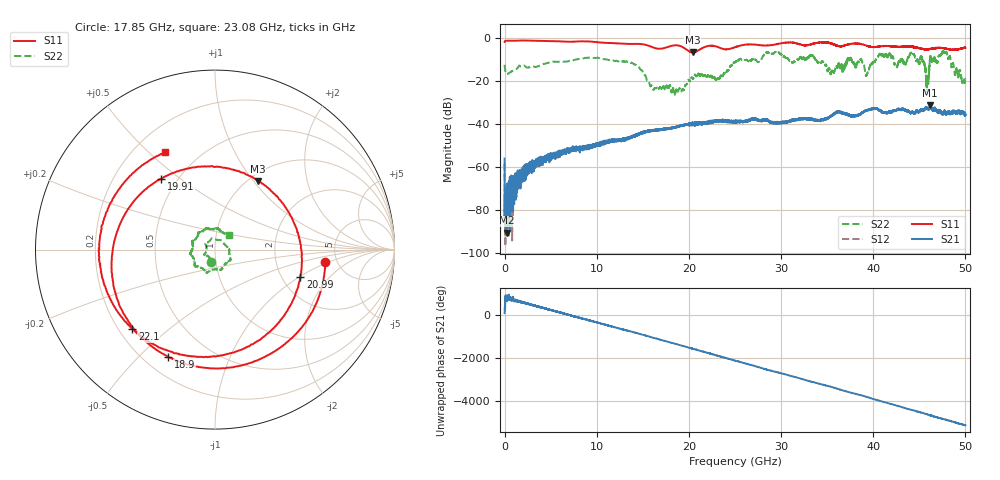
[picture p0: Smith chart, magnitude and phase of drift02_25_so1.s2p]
!Created with skrf (http://scikit-rf.org).
# Hz S RI R 50.0
!freq ReS11 ImS11 ReS21 ImS21 ReS12 ImS12 ReS22 ImS22
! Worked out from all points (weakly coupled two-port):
!   10001 points, 300 kHz to 50 GHz, reference 50 ohm
!   highest |S21| = -31.53 dB at 46.18 GHz (marker M1); lowest = -90.7 dB at 245.3 MHz (marker M2)
!   lowest |S11| = -6.9 dB at 20.41 GHz (marker M3), VSWR 2.64, Z = 54.8 + j52.6 ohm
!   |S11| at or under -10 dB: nowhere
!   |S22| runs from -26.6 to -6.3 dB; largest |S21 - S12| = 0.0038
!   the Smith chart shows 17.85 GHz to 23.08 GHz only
!   S11 on the Smith chart (normalised r, x): 17.85 GHz: 4.02, -0.90; 18.9 GHz: 0.30, -0.61; 19.91 GHz: 0.41, +0.43; 20.99 GHz: 2.51, -1.03; 22.1 GHz: 0.25, -0.38; 23.08 GHz: 0.33, +0.56
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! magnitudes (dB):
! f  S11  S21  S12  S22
! 300 kHz  -2.1  -56.3  -58.6  -12.7
! 245.3 MHz  -1.4  -90.7  -75.1  -17.0
! 2.88 GHz  -1.4  -59.1  -59.4  -13.6
! 8.335 GHz  -1.7  -51.4  -51.0  -9.7
! 13.71 GHz  -3.0  -46.5  -46.6  -11.7
! 16.67 GHz  -5.2  -42.9  -43.1  -23.6
! 17.85 GHz  -4.2  -42.3  -42.0  -23.0
! 18.9 GHz  -3.7  -41.5  -41.1  -24.2
! 19.91 GHz  -6.1  -40.3  -40.3  -19.8
! 20.41 GHz  -6.9  -40.9  -40.1  -19.1
! 20.99 GHz  -6.0  -40.6  -39.7  -16.8
! 22.1 GHz  -3.9  -39.2  -39.6  -17.6
! 23.08 GHz  -4.3  -39.0  -38.9  -19.0
! 25 GHz  -4.5  -39.4  -39.1  -11.5
! 33.34 GHz  -3.1  -37.6  -38.2  -8.3
! 39.32 GHz  -3.8  -33.7  -33.7  -17.1
! 41.67 GHz  -4.0  -34.8  -34.7  -7.8
! 44.26 GHz  -4.3  -34.6  -34.5  -7.4
! 45.85 GHz  -5.5  -33.0  -32.8  -20.9
! 46.18 GHz  -5.3  -31.5  -31.7  -9.4
! 47.76 GHz  -5.0  -34.7  -34.9  -6.6
! 50 GHz  -4.8  -35.7  -35.0  -19.4
